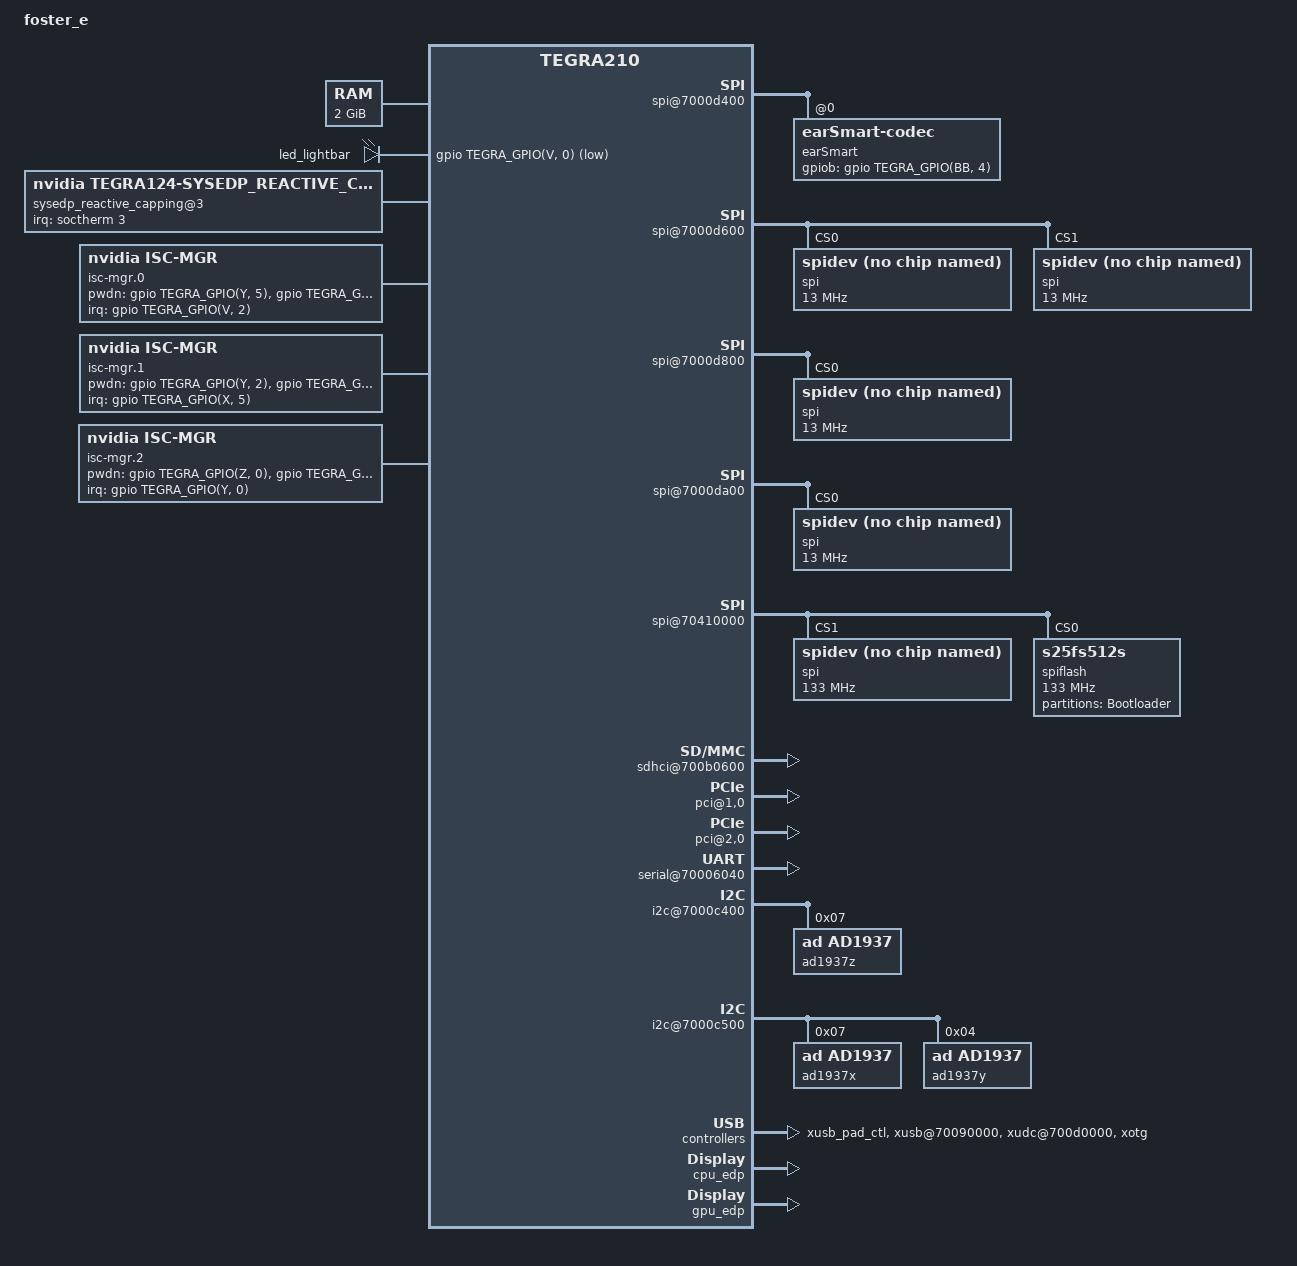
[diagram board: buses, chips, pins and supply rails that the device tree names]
/*
 * arch/arm64/boot/dts/tegra210-vcm31-e2379-common.dtsi
 *
 * Copyright (c) 2015-2016, NVIDIA CORPORATION.  All rights reserved.
 *
 * This program is free software; you can redistribute it and/or modify
 * it under the terms of the GNU General Public License as published by
 * the Free Software Foundation; version 2 of the License.
 *
 * This program is distributed in the hope that it will be useful, but WITHOUT
 * ANY WARRANTY; without even the implied warranty of MERCHANTABILITY or
 * FITNESS FOR A PARTICULAR PURPOSE.  See the GNU General Public License for
 * more details.
 *
 * You should have received a copy of the GNU General Public License along
 * with this program; if not, write to the Free Software Foundation, Inc.,
 * 51 Franklin Street, Fifth Floor, Boston, MA  02110-1301, USA.
 *
 */

/dts-v1/;

/memreserve/ 0x80000000 0x00020000;

#include "tegra210-common.dtsi"
#include "tegra210-platforms/tegra210-sdhci.dtsi"
#include "tegra210-platforms/tegra210-edp.dtsi"
#include "tegra210-platforms/tegra210-sysedp.dtsi"
#include "tegra210-platforms/tegra210-audio.dtsi"
#include "tegra210-platforms/tegra210-pinmux-drive-sdmmc-common.dtsi"
#include "tegra210-platforms/tegra210-vcm31-power-tree-e2379.dtsi"
#include "tegra210-platforms/tegra210-ers-hdmi-e2190-1100-a00.dtsi"
#include "tegra210-platforms/tegra210-vcm31t210-emc.dtsi"
#include "tegra210-platforms/tegra210-ers-clk-init.dtsi"

#include <dt-bindings/iio/meter/ina3221x.h>
#include <dt-bindings/sound/tegra-asoc-alt.h>

/ {
	model = "foster_e";
	compatible = "nvidia,foster-e", "nvidia,tegra210";
	nvidia,dtsfilename = __FILE__;
	nvidia,fastboot-usb-pid = <0x7100>;
	nvidia,boardids = "2580:0631:A0";
	nvidia,proc-boardid = "2580:0631:A0";
	nvidia,pmu-boardid = "2580:0631:A0";

	/* Place holder for Boardinfo,this will be updated by QB
	* by reading the values from BCT partition
	*/
	nvidia,boardinfo {
		macids {
			mac0-interface = "0000";
			mac0-address = <00 00 00 00 00 00>;
			mac0-address-string = "00 00 00 00 00 00";
		};
		skuinfo {
			skustring = "000-00000-0000-000";
			skuver = "00";
		};
		prodinfo {
			prodstring = "000-00000-0000-000";
			prodver = "0";
		};
		serialnuminfo {
			serialnumstring = "0000000";
			version = "0";
		};
	};

	firmware {
		android {
			compatible = "android,firmware";
			hardware = "foster_e";
		};
	};

	spi@7000d400 {
	earSmart: earSmart-codec@0 {
		adnc,gpiob-gpio = <&gpio TEGRA_GPIO(BB, 4) GPIO_ACTIVE_HIGH>;
	  };
	};

	spi@7000d600 {
		status = "okay";
		spi@0 {
			compatible = "spidev";
			reg = <0>;
			spi-max-frequency = <13000000>;
		};
		spi@1 {
			compatible = "spidev";
			reg = <1>;
			spi-max-frequency = <13000000>;
		};
	};

	spi@7000d800 {
		compatible = "nvidia,tegra210-spi-slave";
		status = "okay";
		spi@0 {
			compatible = "spidev";
			reg = <0>;
			spi-max-frequency = <13000000>;
		};
	};

	spi@7000da00 {
		status = "okay";
		spi@0 {
			compatible = "spidev";
			reg = <0>;
			spi-max-frequency = <13000000>;
		};
	};

	spi@70410000 {
		status = "okay";
		spi@0 {
			compatible = "spidev";
			reg = <1>;
			spi-max-frequency = <133000000>;

			controller-data {
				nvidia,x1-len-limit = <16>;
				nvidia,x1-bus-speed = <133000000>; /* In Mhz */
				nvidia,x1-dymmy-cycle = <0>;
				nvidia,x4-bus-speed = <133000000>;
				nvidia,x4-dymmy-cycle = <8>;
				nvidia,ifddr-div2-sdr = <1>;
				nvidia,x4-is-ddr=<1>;
			};
		};

		spiflash@1 {
			#address-cells = <1>;
			#size-cells = <1>;
			compatible = "s25fs512s";
			reg = <0>;
			spi-max-frequency = <133000000>;
			partition@0 {
				label = "Bootloader";
				reg = <0x00000000 0x4000000>;
			};
			controller-data {
				nvidia,x1-len-limit = <16>;
				nvidia,x1-bus-speed = <133000000>; /* In Mhz */
				nvidia,x1-dymmy-cycle = <0>;
				nvidia,x4-bus-speed = <133000000>;
				nvidia,x4-dymmy-cycle = <8>;
				nvidia,ifddr-div2-sdr = <1>;
				nvidia,x4-is-ddr=<1>;
			};
		};
	};

	sdhci@700b0600 { /* SDMMC4 for EMMC */
		uhs-mask = <0x40>;
		built-in;
		pll_source = "pll_p", "pll_c4_out2";
		power-off-rail;
		status = "okay";
	};

	sdhci@700b0400 {
		status = "disabled";
	};

	sdhci@700b0200 {
		status = "disabled";
	};

	sdhci@700b0000 {
		status = "disabled";
	};

	pcie-controller@1003000 {
		nvidia,wake-gpio = <&gpio TEGRA_GPIO(A, 2) 0>;
		nvidia,lane-map = <0x12>;
		dvdd-pex-pll-supply = <&max77620_ldo1>;
		l0-dvddio-pex-supply = <&max77620_ldo1>;
		l1-dvddio-pex-supply = <&max77620_ldo1>;
		l2-dvddio-pex-supply = <&max77620_ldo1>;
		l3-dvddio-pex-supply = <&max77620_ldo1>;
		l4-dvddio-pex-supply = <&max77620_ldo1>;
		l5-dvddio-pex-supply = <&max77620_ldo1>;
		l6-dvddio-pex-supply = <&max77620_ldo1>;
		hvdd-pex-pll-e-supply = <&max77620_sd3>;
		l0-hvddio-pex-supply = <&max77620_sd3>;
		l1-hvddio-pex-supply = <&max77620_sd3>;
		l2-hvddio-pex-supply = <&max77620_sd3>;
		l3-hvddio-pex-supply = <&max77620_sd3>;
		l4-hvddio-pex-supply = <&max77620_sd3>;
		l5-hvddio-pex-supply = <&max77620_sd3>;
		l6-hvddio-pex-supply = <&max77620_sd3>;
		vddio-pex-ctl-supply = <&max77620_sd3>;
		pci@1,0 {
			status = "okay";
		};

		pci@2,0 {
			status = "okay";
		};
	};

	tegra-aotag {
		status = "disabled";
	};

	serial@70006040 {
		compatible = "nvidia,tegra210-uart", "nvidia,tegra114-hsuart";
		console-port;
		sqa-automation-port;
		status = "okay";
	};

	serial@70006000 {
		status = "disabled";
	};

	chosen {
	};

	pmc@7000e400 {
		nvidia,invert-interrupt;
		io-pad-defaults {
			sdmmc1 {
				nvidia,enable-dynamic-pad-voltage;
			};
			sdmmc3 {
				nvidia,enable-dynamic-pad-voltage;
			};
		};
	};

	host1x {
		status = "okay";
		/* tegradc.0 */
		dc@54200000 {
			status = "okay";
			nvidia,dc-flags = <TEGRA_DC_FLAG_ENABLED>;
			nvidia,emc-clk-rate = <300000000>;
			nvidia,fb-bpp = <32>; /* bits per pixel */
			nvidia,fb-flags = <TEGRA_FB_FLIP_ON_PROBE>;
		};
	};

	memory@80000000 {
		device_type = "memory";
		reg = < 0x0 0x80000000 0x0 0x80000000 >;
	};

	adma@702e2000  {
		dma-channels = <10>;
		status = "okay";
	};

	wifi-antenna-tuning {
		status = "disabled";
	};

	soctherm@0x700E2000 {
		throttle@oc1 {
			status = "disabled";
			device_type = "throttlectl";
			oc-alarm-id = <1>;
			priority = <50>;
			mode = "brief";
			intr;
			active_low;
			count_threshold = <100>;
			filter = <5100000>;
			throttle_dev = <&{/soctherm@0x700E2000/throttle_dev@cpu_medium}
			&{/soctherm@0x700E2000/throttle_dev@gpu_medium}>;
		};
		throttle@oc3 {
			status = "disabled";
			device_type = "throttlectl";
			oc-alarm-id = <3>;
			priority = <50>;
			mode = "brief";
			intr;
			active_low;
			count_threshold = <15>;
			filter = <5100000>;
			throttle_dev = <&{/soctherm@0x700E2000/throttle_dev@cpu_medium}
			&{/soctherm@0x700E2000/throttle_dev@gpu_medium}>;
		};
		throttle_dev@cpu_medium {
			dividend = <63>;
			divisor = <255>;
			duration = <0>;
			step = <0>;
		};
		throttle_dev@gpu_medium {
			level = "medium_throttling";
		};
	};

	thermal-zones {
		CPU-therm {
			thermal-zone-params {
				governor-name = "pid_thermal_gov";
				max_err_temp = <9000>;
				max_err_gain = <1000>;
				gain_p = <1000>;
				gain_d = <0>;
				up_compensation = <20>;
				down_compensation = <20>;
			};
			trips {
				cpu_critical {
					temperature = <102500>;
					hysteresis = <0>;
					type = "critical";
					writable;
				};
				cpu_heavy {
					temperature = <98500>;
					hysteresis = <0>;
					type = "hot";
					writable;
				};
				cpu_throttle {
					temperature = <89000>;
					hysteresis = <0>;
					type = "passive";
					writable;
				};
			};
			cooling-maps {
				map0 {
					trip = <&{/thermal-zones/CPU-therm/trips/cpu_critical}>;
					cdev-type = "tegra-shutdown";
					cooling-device = <&{/soctherm@0x700E2000/throttle@critical}
					THERMAL_NO_LIMIT THERMAL_NO_LIMIT>;
				};
				map1 {
					trip = <&{/thermal-zones/CPU-therm/trips/cpu_heavy}>;
					cdev-type = "tegra-heavy";
					cooling-device = <&{/soctherm@0x700E2000/throttle@heavy}
					THERMAL_NO_LIMIT THERMAL_NO_LIMIT>;
				};
				map2 {
					trip = <&{/thermal-zones/CPU-therm/trips/cpu_throttle}>;
					cdev-type = "cpu-balanced";
					cooling-device = <&{/bthrot_cdev/cpu_balanced}
					THERMAL_NO_LIMIT THERMAL_NO_LIMIT>;
				};
			};
		};
		GPU-therm {
			thermal-zone-params {
				governor-name = "pid_thermal_gov";
				max_err_temp = <9000>;
				max_err_gain = <1000>;
				gain_p = <1000>;
				gain_d = <0>;
				up_compensation = <20>;
				down_compensation = <20>;
			};
			trips {
				gpu_critical {
					temperature = <103000>;
					hysteresis = <0>;
					type = "critical";
					writable;
				};
				gpu_heavy {
					temperature = <100000>;
					hysteresis = <0>;
					type = "hot";
					writable;
				};
				gpu_throttle {
					temperature = <90500>;
					hysteresis = <0>;
					type = "passive";
					writable;
				};
			};
			cooling-maps {
				map0 {
					trip = <&{/thermal-zones/GPU-therm/trips/gpu_critical}>;
					cdev-type = "tegra-shutdown";
					cooling-device = <&{/soctherm@0x700E2000/throttle@critical}
					THERMAL_NO_LIMIT THERMAL_NO_LIMIT>;
				};
				map1 {
					trip = <&{/thermal-zones/GPU-therm/trips/gpu_heavy}>;
					cdev-type = "tegra-heavy";
					cooling-device = <&{/soctherm@0x700E2000/throttle@heavy}
					THERMAL_NO_LIMIT THERMAL_NO_LIMIT>;
				};
				map2 {
					trip = <&{/thermal-zones/GPU-therm/trips/gpu_throttle}>;
					cdev-type = "gpu-balanced";
					cooling-device = <&{/bthrot_cdev/gpu_balanced}
					THERMAL_NO_LIMIT THERMAL_NO_LIMIT>;
				};
			};
		};

		LCPU-therm {
			thermal-zone-params {
				governor-name = "pid_thermal_gov";
				max_err_temp = <9000>;
				max_err_gain = <1000>;
				gain_p = <1000>;
				gain_d = <0>;
				up_compensation = <20>;
				down_compensation = <20>;
			};
			trips {
				lcpu_critical {
					temperature = <103000>; /* must be same as GPU's critical temp */
					hysteresis = <0>;
					type = "critical";
					writable;
				};
				lcpu_heavy {
					temperature = <101500>;
					hysteresis = <0>;
					type = "hot";
					writable;
				};
				lcpu_throttle {
					temperature = <92000>;
					hysteresis = <0>;
					type = "passive";
					writable;
				};
			};
			cooling-maps {
				map0 {
					trip = <&{/thermal-zones/LCPU-therm/trips/lcpu_critical}>;
					cdev-type = "tegra-shutdown";
					cooling-device = <&{/soctherm@0x700E2000/throttle@critical}
					THERMAL_NO_LIMIT THERMAL_NO_LIMIT>;
				};
				map1 {
					trip = <&{/thermal-zones/LCPU-therm/trips/lcpu_heavy}>;
					cdev-type = "tegra-heavy";
					cooling-device = <&{/soctherm@0x700E2000/throttle@heavy}
					THERMAL_NO_LIMIT THERMAL_NO_LIMIT>;
				};
				map2 {
					trip = <&{/thermal-zones/LCPU-therm/trips/lcpu_throttle}>;
					cdev-type = "cpu-balanced";
					cooling-device = <&{/bthrot_cdev/cpu_balanced}
					THERMAL_NO_LIMIT THERMAL_NO_LIMIT>;
				};
			};
		};

		PLL-therm {
			thermal-zone-params {
				governor-name = "pid_thermal_gov";
				max_err_temp = <9000>;
				max_err_gain = <1000>;
				gain_p = <1000>;
				gain_d = <0>;
				up_compensation = <20>;
				down_compensation = <20>;
			};
		};

		Charger-Die {
			status = "okay";
		};

		Tboard_tegra {
			status = "okay";
		};
		Tdiode_tegra {
			status = "okay";
		};
	};

	ahub {
		i2s@702d1100 {
			pinctrl-names = "dap_active", "dap_inactive";
			pinctrl-0 = <>;
			pinctrl-1 = <>;
			regulator-supplies = "vdd-1v8-spi-hv", "vdd-1v8-spi-hv-bias";
			vdd-1v8-spi-hv-supply = <&max77620_sd3>;
			vdd-1v8-spi-hv-bias-supply = <&max77620_sd3>;
			fsync-width = <0>;
		};
		/* enable I2S4_CYA bit to select i2s4b pin */
		i2s@702d1300 {
			enable-cya;
		};
	};

	sound {
		compatible = "nvidia,tegra-audio-t210ref-mobile-foster";
		nvidia,model = "tegra-snd-t210ref-mobile-es755";
		nvidia,num-codec-link = <1>;

		nvidia,audio-routing =
			"y Headphone", 	"y OUT",
			"y IN",		"y Mic";

		nvidia,xbar = <&tegra_axbar>;

		nvidia,dai-link-1 {
			link-name = "spdif-dit-1";
			cpu-dai = <&tegra_i2s2>;
			codec-dai = <&spdif_dit1>;
			cpu-dai-name = "I2S2";
			codec-dai-name = "dit-hifi";
			format = "dsp_a";
			bitclock-slave;
			frame-slave;
			bitclock-inversion;
			frame-inversion;
			bit-format = "s16_le";
			bclk_ratio = <4>;
			srate = <8000>;
			num-channel = <1>;
			name-prefix = "y";
		};
	};

	i2c@7000c400 {
		ad1937z: ad193x.1-0007@07 {
			compatible = "ad,ad1937";
			reg = <0x07>;
			status = "okay";
		};
	};

	i2c@7000c500 {
		ad1937x: ad193x.2-0007@07 {
			compatible = "ad,ad1937";
			reg = <0x07>;
			status = "okay";
		};
		ad1937y: ad193x.2-0004@04 {
			compatible = "ad,ad1937";
			reg = <0x04>;
			status = "okay";
		};
	};

	sound_ref {
		compatible = "nvidia,tegra-audio-t210ref";
		nvidia,model = "tegra-snd-t210ref";
		nvidia,num-codec-link = <3>;
		nvidia,num-amx = <2>;
		nvidia,num-adx = <2>;
		nvidia,amx-slot-size = <32 32>;
		nvidia,adx-slot-size = <32 32>;
		nvidia,addr-max9485 = <112>;
		nvidia,amx-slot-map = <
			/* jack 0 */
			TDM_SLOT_MAP(0, 0, 0)
			TDM_SLOT_MAP(0, 0, 0)
			TDM_SLOT_MAP(0, 1, 0)
			TDM_SLOT_MAP(0, 1, 1)
			TDM_SLOT_MAP(0, 0, 0)
			TDM_SLOT_MAP(0, 0, 0)
			TDM_SLOT_MAP(0, 2, 0)
			TDM_SLOT_MAP(0, 2, 1)
			/* jack 1 */
			TDM_SLOT_MAP(0, 0, 0)
			TDM_SLOT_MAP(0, 0, 0)
			TDM_SLOT_MAP(1, 1, 0)
			TDM_SLOT_MAP(1, 1, 1)
			TDM_SLOT_MAP(0, 0, 0)
			TDM_SLOT_MAP(0, 0, 0)
			TDM_SLOT_MAP(1, 2, 0)
			TDM_SLOT_MAP(1, 2, 1)
			/* jack 2 */
			TDM_SLOT_MAP(0, 0, 0)
			TDM_SLOT_MAP(0, 0, 0)
			TDM_SLOT_MAP(2, 1, 0)
			TDM_SLOT_MAP(2, 1, 1)
			TDM_SLOT_MAP(0, 0, 0)
			TDM_SLOT_MAP(0, 0, 0)
			TDM_SLOT_MAP(2, 2, 0)
			TDM_SLOT_MAP(2, 2, 1)
			/* jack 3 */
			TDM_SLOT_MAP(0, 0, 0)
			TDM_SLOT_MAP(0, 0, 0)
			TDM_SLOT_MAP(3, 1, 0)
			TDM_SLOT_MAP(3, 1, 1)
			TDM_SLOT_MAP(0, 0, 0)
			TDM_SLOT_MAP(0, 0, 0)
			TDM_SLOT_MAP(3, 2, 0)
			TDM_SLOT_MAP(3, 2, 1)>;
		nvidia,adx-slot-map = <
			/* jack 0 */
			TDM_SLOT_MAP(0, 0, 0)
			TDM_SLOT_MAP(0, 0, 0)
			TDM_SLOT_MAP(0, 1, 0)
			TDM_SLOT_MAP(0, 1, 1)
			TDM_SLOT_MAP(0, 0, 0)
			TDM_SLOT_MAP(0, 0, 0)
			TDM_SLOT_MAP(0, 2, 0)
			TDM_SLOT_MAP(0, 2, 1)
			/* jack 1 */
			TDM_SLOT_MAP(0, 0, 0)
			TDM_SLOT_MAP(0, 0, 0)
			TDM_SLOT_MAP(1, 1, 0)
			TDM_SLOT_MAP(1, 1, 1)
			TDM_SLOT_MAP(0, 0, 0)
			TDM_SLOT_MAP(0, 0, 0)
			TDM_SLOT_MAP(1, 2, 0)
			TDM_SLOT_MAP(1, 2, 1)
			/* jack 2 */
			TDM_SLOT_MAP(0, 0, 0)
			TDM_SLOT_MAP(0, 0, 0)
			TDM_SLOT_MAP(2, 1, 0)
			TDM_SLOT_MAP(2, 1, 1)
			TDM_SLOT_MAP(0, 0, 0)
			TDM_SLOT_MAP(0, 0, 0)
			TDM_SLOT_MAP(2, 2, 0)
			TDM_SLOT_MAP(2, 2, 1)
			/* jack 3 */
			TDM_SLOT_MAP(0, 0, 0)
			TDM_SLOT_MAP(0, 0, 0)
			TDM_SLOT_MAP(3, 1, 0)
			TDM_SLOT_MAP(3, 1, 1)
			TDM_SLOT_MAP(0, 0, 0)
			TDM_SLOT_MAP(0, 0, 0)
			TDM_SLOT_MAP(3, 2, 0)
			TDM_SLOT_MAP(3, 2, 1)>;

		nvidia,audio-routing =
			"Headphone-x", 	"x DAC1OUT",
			"Headphone-x", 	"x DAC2OUT",
			"Headphone-x", 	"x DAC3OUT",
			"Headphone-x", 	"x DAC4OUT",
			"x ADC1IN",	"LineIn-x",
			"x ADC2IN",	"LineIn-x",

			"Headphone-y", 	"y DAC1OUT",
			"Headphone-y", 	"y DAC2OUT",
			"Headphone-y", 	"y DAC3OUT",
			"Headphone-y", 	"y DAC4OUT",
			"y ADC1IN",	"LineIn-y",
			"y ADC2IN",	"LineIn-y",

			"Headphone-z", 	"z DAC1OUT",
			"Headphone-z", 	"z DAC2OUT",
			"Headphone-z", 	"z DAC3OUT",
			"Headphone-z", 	"z DAC4OUT",
			"z ADC1IN",	"LineIn-z";

		nvidia,xbar = <&tegra_axbar>;

		nvidia,dai-link-1 {
			link-name = "ad-playback-z";
			cpu-dai = <&tegra_i2s4>;
			codec-dai = <&ad1937z>;
			cpu-dai-name = "I2S4";
			codec-dai-name = "ad193x-hifi";
			tx-mask = <0xFF>;
			rx-mask = <0xFF>;
			format = "dsp_a";
			bitclock-slave;
			frame-slave;
			bitclock-noninversion;
			frame-noninversion;
			bit-format = "s32_le";
			bclk_ratio = <1>;
			srate = <48000>;
			num-channel = <8>;
			name-prefix = "z";
		};
		nvidia,dai-link-2 {
			link-name = "ad-playback-x";
			cpu-dai = <&tegra_i2s3>;
			codec-dai = <&ad1937x>;
			cpu-dai-name = "I2S3";
			codec-dai-name = "ad193x-hifi";
			tx-mask = <0xFF>;
			rx-mask = <0xFF>;
			format = "dsp_a";
			bitclock-slave;
			frame-slave;
			bitclock-noninversion;
			frame-noninversion;
			bit-format = "s32_le";
			bclk_ratio = <1>;
			srate = <48000>;
			num-channel = <8>;
			name-prefix = "x";
		};
		nvidia,dai-link-3 {
			link-name = "ad-playback-y";
			cpu-dai = <&tegra_i2s5>;
			codec-dai = <&ad1937y>;
			cpu-dai-name = "I2S5";
			codec-dai-name = "ad193x-hifi";
			tx-mask = <0xFF>;
			rx-mask = <0xFF>;
			format = "dsp_a";
			bitclock-slave;
			frame-slave;
			bitclock-noninversion;
			frame-noninversion;
			bit-format = "s32_le";
			bclk_ratio = <1>;
			srate = <48000>;
			num-channel = <8>;
			name-prefix = "y";
		};
	};

	adsp_audio {
		compr-ops = <0>;
		num-plugin = <2>;
		plugin-info-1 {
			plugin-name = "reverb";
			firmware-name = "libnvreverbfx.elf";
			widget-name = "REVERB";
			param-type = <2>; /* SNDRV_CTL_ELEM_TYPE_INTEGER */
		};
		plugin-info-2 {
			plugin-name = "wire";
			firmware-name = "libnvwirefx.elf";
			widget-name = "WIRE";
		};
	};

	extcon {
		extcon@0 {
			status = "disabled";
		};
	};

	xusb_pad_ctl: xusb_padctl {
		nvidia,ss_portmap = <0x0277>;
		nvidia,lane_owner = <0x43FF>; /* Use 0xF to disable lane assign */
		nvidia,otg_portmap = <0x0100>;
		status = "okay";
	};

	xusb@70090000 {
		/* nvidia,uses_external_pmic;
		/* nvidia,gpio_controls_muxed_ss_lanes; */
		nvidia,gpio_ss1_sata = <0>;
		nvidia,ulpicap = <0>; /* No ulpi support. can we remove */
		nvidia,portmap = <0x0E0C>;
		nvidia,common_padctl = <&xusb_pad_ctl>;
		status = "okay";
	};

	xudc@700d0000 {
		nvidia,common_padctl = <&xusb_pad_ctl>;
		nvidia,portmap = <0x0108>;
		#extcon-cells = <1>;
		status = "okay";
		dt-override-status-odm-data = <0x01000000 0x01000000>;
	};

	xotg {
		nvidia,common_padctl = <&xusb_pad_ctl>;
		#extcon-cells = <1>;
		status = "okay";
		dt-override-status-odm-data = <0x01000000 0x01000000>;
	};

	gpu-dvfs-rework {
		status = "disabled";
	};

	pwm-leds {
		compatible = "pwm-leds";
		lightbar {
			label = "led_lightbar";
			pwms = <&tegra_pwm 0 10000000>;
			gpios = <&gpio TEGRA_GPIO(V, 0) GPIO_ACTIVE_LOW>;
			max-brightness = <255>;
			default-brightness = <255>;
			linux,default-trigger = "default-on";
		};
	};

	cpu_edp {
		status = "okay";
		nvidia,edp_limit = <25000>;
	};

	gpu_edp {
		status = "okay";
		nvidia,edp_limit = <25000>;
	};

	sysedp_reactive_capping@3 {
		compatible = "nvidia,tegra124-sysedp_reactive_capping";
		nvidia,max_capping_mw = <15000>;
		nvidia,step_alarm_mw = <1000>;
		nvidia,step_relax_mw = <500>;
		nvidia,relax_ms = <250>;
		interrupt-parent = <&soctherm>;
		interrupts = <3 0x2002>;
		sysedpc {
			nvidia,name = "batmon_oc3";
		};
	};

	sysedp {
		compatible = "nvidia,tegra124-sysedp";
		nvidia,margin = <0>;
		nvidia,min_budget = <0>;
		nvidia,initial_budget = <40000>;
	};

	sysedp-dynamic-capping {
		compatible = "nvidia,tegra124-sysedp-dynamic-capping";
		nvidia,throttle_depth = <75>;
		nvidia,cap_method = <1>;
	};

	isc-mgr.0 {
		compatible = "nvidia,isc-mgr";
		i2c-bus = <2>;
		csi-port = <0>;
		pwdn-gpios = < &gpio TEGRA_GPIO(Y, 5) GPIO_ACTIVE_HIGH	/* GMSL_IN1_PDN */
			&gpio TEGRA_GPIO(H, 2) GPIO_ACTIVE_HIGH>;	/* CSI_TV1_EN */
		/* default-power-on; */
		interrupt-parent = <&gpio>;
		interrupts = <TEGRA_GPIO(V, 2) 2>; /* gpio PS3 : falling edge sensitive */
		status = "okay";
	};

	isc-mgr.1 {
		compatible = "nvidia,isc-mgr";
		i2c-bus = <0>;
		csi-port = <2>;
		pwdn-gpios = < &gpio TEGRA_GPIO(Y, 2) GPIO_ACTIVE_HIGH	/* GMSL_IN2_PDN */
			&gpio TEGRA_GPIO(H, 5) GPIO_ACTIVE_HIGH		/* CSI_TV2_EN */
			&gpio TEGRA_GPIO(H, 6) GPIO_ACTIVE_HIGH>;	/* CSI_TV3_EN */
		/* default-power-on; */
		interrupt-parent = <&gpio>;
		interrupts = <TEGRA_GPIO(X, 5) 2>; /* gpio PS3 : falling edge sensitive */
		status = "okay";
	};

	isc-mgr.2 {
		compatible = "nvidia,isc-mgr";
		i2c-bus = <1>;
		csi-port = <4>;
		pwdn-gpios = < &gpio TEGRA_GPIO(Z, 0) GPIO_ACTIVE_HIGH	/* GMSL_IN3_PDN */
			&gpio TEGRA_GPIO(H, 7) GPIO_ACTIVE_HIGH>;	/* CSI_TV4_EN */
		/* default-power-on; */
		interrupt-parent = <&gpio>;
		interrupts = <TEGRA_GPIO(Y, 0) 2>; /* gpio PS3 : falling edge sensitive */
		status = "okay";
	};
};
